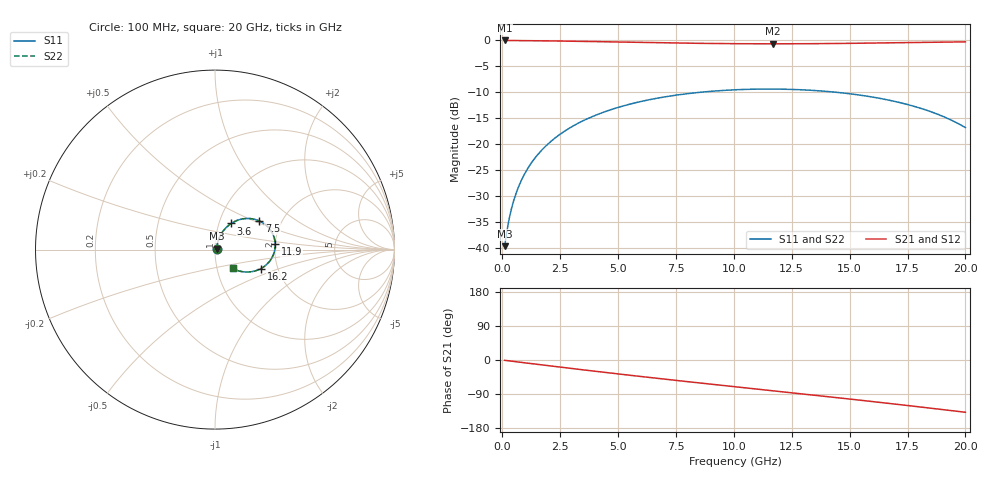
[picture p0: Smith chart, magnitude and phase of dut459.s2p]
! Touchstone file exported from HFSS 2026.1.0
!  File:  C:/ffzhzh/LocalFiles/Ansys_Project_Files/temp_train_TSV_RDL_459_1783101270_37876.aedt
!  Generated:  02:04:36 AM Jul  4, 2026
!  Design:  TSV_RDL
!  Project:  temp_train_TSV_RDL_459_1783101270_37876
! Variables:
!  h_bsmrdl = 2.76um
!  h_ox = 20um
!  h_rdl = 5um
!  h_sub = 94.65um
!  h_tmrdl = 5.12um
!  h_tsv = 94.65um
!  h_via = 3um
!  l_bsmrdl = 246.28um
!  l_sub = 2005.79um
!  l_tmrdl = 184.87um
!  m_sub = 200um
!  pitch = 46.59um
!  r_tsv = 12.07um
!  s_tmrdl = 10um
!  w_bsmrdl = 29.49um
!  w_sub = 500um
!  w_tmrdl = 13um
!  x_tsv_center1 = 191.37um
!  x_tsv_center2 = 467.14um
!  x_tsv_center3 = 665.01um
!  x_tsv_center4 = 940.78um
!  x_tsv_center5 = 1138.65um
!  x_tsv_center6 = 1414.42um
# GHz S MA R 50.000000
! Terminal data exported
! Port[1] = TM_RDL1_1_T1
! Port[2] = TM_RDL5_1_T1
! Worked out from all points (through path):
!   200 points, 100 MHz to 20 GHz, reference 50 ohm
!   highest |S21| = -0.07 dB at 100 MHz (marker M1); lowest = -0.7 dB at 11.7 GHz (marker M2)
!   group delay of S21, straight-line fit = 18.8 ps
!   lowest |S11| = -39.7 dB at 100 MHz (marker M3), VSWR 1.02, Z = 50.9 + j0.574 ohm
!   |S11| at or under -10 dB: start of sweep to 8.694 GHz; 14.28 GHz to end of sweep
!   |S22| runs from -39.7 to -9.4 dB; largest |S21 - S12| = 7.8e-13
!   S11 on the Smith chart (normalised r, x): 100 MHz: 1.02, +0.01; 3.6 GHz: 1.14, +0.34; 7.5 GHz: 1.54, +0.54; 11.9 GHz: 2.00, +0.13; 16.2 GHz: 1.64, -0.37; 20 GHz: 1.19, -0.25
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0.1  0.01032 33.2  0.9914 -0.8  0.9914 -0.8  0.01032 33.2
! Gamma 0 0 0 0
! Port Impedance 50 0 50 0
0.2  0.01444 50.1  0.991 -1.6  0.991 -1.6  0.01444 50.1
0.3  0.01912 58.2  0.9905 -2.4  0.9905 -2.4  0.01912 58.2
0.5  0.02875 65.5  0.9895 -3.9  0.9895 -3.9  0.02875 65.5
0.8  0.04331 69.4  0.9881 -6.1  0.9881 -6.1  0.04331 69.4
1.1  0.05791 70.3  0.9868 -8.4  0.9868 -8.4  0.05791 70.3
1.6  0.08201 69.3  0.9844 -12.1  0.9844 -12.1  0.08201 69.3
2.1  0.1056 67.1  0.9815 -15.8  0.9815 -15.8  0.1056 67.1
2.7  0.1329 63.8  0.9773 -20.2  0.9773 -20.2  0.1329 63.8
3.5  0.1673 58.9  0.971 -26.0  0.971 -26.0  0.1673 58.9
3.6  0.1714 58.2  0.9701 -26.8  0.9701 -26.8  0.1714 58.2
5.1  0.2277 48.5  0.9568 -37.4  0.9568 -37.4  0.2277 48.5
6.8  0.2781 37.3  0.942 -49.1  0.942 -49.1  0.2781 37.3
7.5  0.2944 32.8  0.9366 -53.8  0.9366 -53.8  0.2944 32.8
10.1  0.3321 16.3  0.9228 -70.9  0.9228 -70.9  0.3321 16.3
11.7  0.3372 6.2  0.9203 -81.3  0.9203 -81.3  0.3372 6.3
11.9  0.3369 5.0  0.9203 -82.6  0.9203 -82.6  0.3369 5.0
13.4  0.3275 -4.5  0.9229 -92.4  0.9229 -92.4  0.3275 -4.5
16.2  0.277 -22.4  0.9369 -111.1  0.9369 -111.1  0.277 -22.4
16.7  0.2635 -25.7  0.9402 -114.5  0.9402 -114.5  0.2636 -25.7
18.5  0.2044 -37.5  0.9525 -127.1  0.9525 -127.1  0.2044 -37.5
20  0.1435 -47.1  0.9613 -137.9  0.9613 -137.9  0.1435 -47.0
